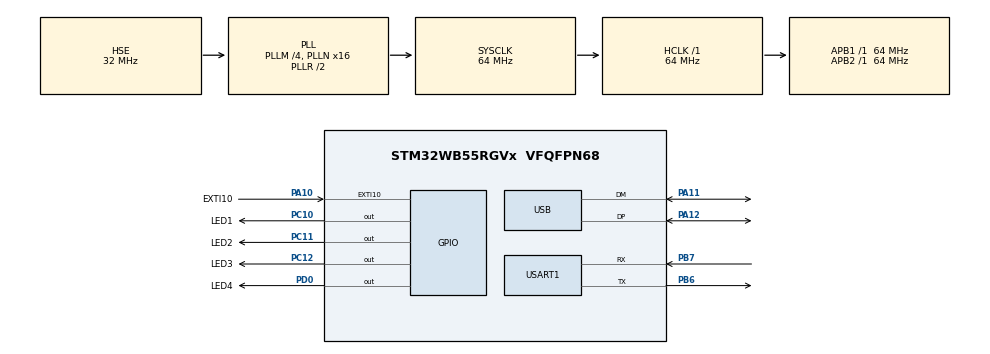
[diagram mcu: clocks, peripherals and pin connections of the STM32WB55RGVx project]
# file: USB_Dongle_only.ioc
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Dma.Request0=USART1_TX
Dma.USART1_TX.0.Direction=DMA_MEMORY_TO_PERIPH
Dma.USART1_TX.0.EventEnable=DISABLE
Dma.USART1_TX.0.Instance=DMA1_Channel1
Dma.USART1_TX.0.MemDataAlignment=DMA_MDATAALIGN_BYTE
Dma.USART1_TX.0.MemInc=DMA_MINC_ENABLE
Dma.USART1_TX.0.Mode=DMA_NORMAL
Dma.USART1_TX.0.PeriphDataAlignment=DMA_PDATAALIGN_BYTE
Dma.USART1_TX.0.PeriphInc=DMA_PINC_DISABLE
Dma.USART1_TX.0.Polarity=HAL_DMAMUX_REQ_GEN_RISING
Dma.USART1_TX.0.Priority=DMA_PRIORITY_LOW
Dma.USART1_TX.0.RequestNumber=1
Dma.USART1_TX.0.SignalID=NONE
Dma.USART1_TX.0.SyncEnable=DISABLE
Dma.USART1_TX.0.SyncPolarity=HAL_DMAMUX_SYNC_NO_EVENT
Dma.USART1_TX.0.SyncRequestNumber=1
Dma.USART1_TX.0.SyncSignalID=NONE
Mcu.Family=STM32WB
Mcu.Name=STM32WB55RGVx
Mcu.Package=VFQFPN68
NVIC.DMA1_Channel1_IRQn=true\:0\:0\:false\:false\:true\:false\:true\:true
NVIC.HSEM_IRQn=true\:0\:0\:false\:false\:true\:false\:true\:true
NVIC.IPCC_C1_RX_IRQn=true\:0\:0\:false\:false\:true\:true\:true\:true
NVIC.IPCC_C1_TX_IRQn=true\:0\:0\:false\:false\:true\:true\:true\:true
NVIC.PriorityGroup=NVIC_PRIORITYGROUP_4
NVIC.USB_LP_IRQn=true\:0\:0\:false\:false\:true\:false\:true\:true
OSC_IN.Mode=HSE-External-Oscillator
OSC_IN.Signal=RCC_OSC_IN
OSC_OUT.Mode=HSE-External-Oscillator
OSC_OUT.Signal=RCC_OSC_OUT
PA10.GPIO_Label=EXTI10
PA10.Signal=GPXTI10
PA11.Mode=Device
PA11.Signal=USB_DM
PA12.Mode=Device
PA12.Signal=USB_DP
PB6.Mode=Asynchronous
PB6.Signal=USART1_TX
PB7.Mode=Asynchronous
PB7.Signal=USART1_RX
PC10.GPIO_Label=LED1
PC10.Signal=GPIO_Output
PC11.GPIO_Label=LED2
PC11.Signal=GPIO_Output
PC12.GPIO_Label=LED3
PC12.Signal=GPIO_Output
PC14-OSC32_IN.Mode=LSE-External-Oscillator
PC14-OSC32_IN.Signal=RCC_OSC32_IN
PC15-OSC32_OUT.Mode=LSE-External-Oscillator
PC15-OSC32_OUT.Signal=RCC_OSC32_OUT
PD0.GPIO_Label=LED4
PD0.Signal=GPIO_Output
ProjectManager.HeapSize=0x200
ProjectManager.StackSize=0x400
ProjectManager.TargetToolchain=STM32CubeIDE
RCC.ADCFreq_Value=32000000
RCC.AHB2CLKDivider=RCC_SYSCLK_DIV2
RCC.AHBFreq_Value=64000000
RCC.APB1Freq_Value=64000000
RCC.APB1TimFreq_Value=64000000
RCC.APB2Freq_Value=64000000
RCC.APB2TimFreq_Value=64000000
RCC.APB3Freq_Value=16000000
RCC.CK48CLockSelection=RCC_USBCLKSOURCE_HSI48
RCC.CortexFreq_Value=64000000
RCC.HCLKFreq_Value=64000000
RCC.HSE_VALUE=32000000
RCC.HSI48_VALUE=48000000
RCC.HSI_VALUE=16000000
RCC.PLLM=RCC_PLLM_DIV4
RCC.PLLN=16
RCC.PLLSourceVirtual=RCC_PLLSOURCE_HSE
RCC.RCC_MCO1Source=RCC_MCO1SOURCE_HSE
RCC.RCC_MCODiv=RCC_MCODIV_2
RCC.SYSCLKFreq_VALUE=64000000
RCC.SYSCLKSource=RCC_SYSCLKSOURCE_PLLCLK
RCC.USBFreq_Value=48000000
RCC.VCOOutputFreq_Value=128000000
RF1.Mode=RF1_Activate
RF1.Signal=RF_RF1
USART1.VirtualMode-Asynchronous=VM_ASYNC
USB_DEVICE.CLASS_NAME_FS=CDC
USB_DEVICE.VirtualMode=Cdc
USB_DEVICE.VirtualModeFS=Cdc_FS
VP_HSEM_VS_HSEM.Mode=HSEM_Activate
VP_IPCC_VS_IPCC.Mode=IPCC_Activate
VP_RNG_VS_RNG.Mode=RNG_Activate
VP_RTC_VS_RTC_Activate.Mode=RTC_Enabled
VP_RTC_VS_RTC_WakeUp_intern.Mode=WakeUp
VP_USB_DEVICE_VS_USB_DEVICE_CDC_FS.Mode=CDC_FS
board=custom

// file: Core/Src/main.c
/* USER CODE BEGIN Header */
/**
  ******************************************************************************
  * @file           : main.c
  * @brief          : Main program body
  ******************************************************************************
  * @attention
  *
  * Copyright (c) 2023 STMicroelectronics.
  * All rights reserved.
  *
  * This software is licensed under terms that can be found in the LICENSE file
  * in the root directory of this software component.
  * If no LICENSE file comes with this software, it is provided AS-IS.
  *
  ******************************************************************************
  */
/* USER CODE END Header */
#include "main.h"
#include "usb_device.h"

/* USER CODE BEGIN Includes */
#include "usbd_cdc_if.h"

#include <stdlib.h>
#include <stdio.h>
#include <inttypes.h>
//#include <stdint.h>
//#include <string.h>
#include "fips202.h"
#include "params.h"
#include "sign.h"
#include "poly.h"
#include "polyvec.h"
#include "packing.h"

#include "usb_debug.h"

#include "elapsed_time.h"

#include "symmetric.h"

/* USER CODE END Includes */

/* USER CODE BEGIN PD */
#define MLEN 59
#define NTESTS 5
//#define KEYGEN_TEST
//#define SIGN_VERIFY_TEST
#define FULL_TEST
//#define AES_TEST
//#define STATIC_KEYS
//#define KEYGEN
#if defined(STATIC_KEYS) || defined(SIGN_VERIFY_TEST)
#include "dilithium_keys.h"
#endif
/* USER CODE END PD */

//CRYP_HandleTypeDef hcryp1;
#ifdef HARDWARE_AES
__ALIGN_BEGIN static const uint32_t pKeyAES1[4] __ALIGN_END = {
                            0x00000000,0x00000000,0x00000000,0x00000000};
#endif

IPCC_HandleTypeDef hipcc;

RNG_HandleTypeDef hrng;

RTC_HandleTypeDef hrtc;

UART_HandleTypeDef huart1;
DMA_HandleTypeDef hdma_usart1_tx;

void SystemClock_Config(void);
void PeriphCommonClock_Config(void);
static void MX_GPIO_Init(void);
static void MX_DMA_Init(void);
static void MX_IPCC_Init(void);
static void MX_RF_Init(void);
static void MX_USART1_UART_Init(void);
static void MX_RTC_Init(void);
static void MX_RNG_Init(void);
#ifdef HARDWARE_AES
static void MX_AES1_Init(void);
#endif
/* USER CODE BEGIN PFP */
static int sign_verify_test_assert(int ret, int mlen, uint8_t ref_m[MLEN], uint8_t new_m[MLEN]);
/* USER CODE END PFP */

int main(void)
{

  /* MCU Configuration--------------------------------------------------------*/

  /* Reset of all peripherals, Initializes the Flash interface and the Systick. */
  HAL_Init();

  /* Configure the system clock */
  SystemClock_Config();

/* Configure the peripherals common clocks */
  PeriphCommonClock_Config();

  /* IPCC initialisation */
  MX_IPCC_Init();

  /* Initialize all configured peripherals */
  MX_GPIO_Init();
  MX_DMA_Init();
  MX_RF_Init();
  MX_USART1_UART_Init();
  MX_RTC_Init();
  MX_USB_Device_Init();
  MX_RNG_Init();
#ifdef HARDWARE_AES
  MX_AES1_Init();
#endif
  /* USER CODE BEGIN 2 */
  HAL_GPIO_TogglePin(LED4_GPIO_Port, LED4_Pin); // BLUE LED
  HAL_Delay(3000);
  USB_DEBUG_MSG("Program Compilation Date: %s %s\n", __DATE__, __TIME__);
  USB_DEBUG_MSG("Dilithium Signature Test Start\n");
  HAL_GPIO_TogglePin(LED4_GPIO_Port, LED4_Pin);
  HAL_GPIO_TogglePin(LED2_GPIO_Port, LED2_Pin);

#ifdef KEYGEN_TEST

  uint8_t pk[CRYPTO_PUBLICKEYBYTES];
  uint8_t sk[CRYPTO_SECRETKEYBYTES];

  elapsed_time_init();

#define TIME_STAMP_INDEX 0

  for (int i = 0; i < NTESTS; ++i) {
	  //
	  USB_DEBUG_MSG("Test %d\r\n", i);

	  elapsed_time_start(TIME_STAMP_INDEX);

	  crypto_sign_keypair(&hrng, pk, sk);

	  elapsed_time_stop(TIME_STAMP_INDEX);

	  USB_DEBUG_MSG("Cycles for keys generation max = %ld\r\n", elapsed_time_max(TIME_STAMP_INDEX));
	  USB_DEBUG_MSG("Cycles for keys generation min = %ld\r\n", elapsed_time_min(TIME_STAMP_INDEX));

	  elapsed_time_clr(TIME_STAMP_INDEX);
  }
  USB_DEBUG_MSG("CRYPTO_PUBLICKEYBYTES = %d\r\n", CRYPTO_PUBLICKEYBYTES);
  USB_DEBUG_MSG("CRYPTO_SECRETKEYBYTES = %d\r\n", CRYPTO_SECRETKEYBYTES);
  USB_DEBUG_MSG("CRYPTO_BYTES = %d\r\n", CRYPTO_BYTES);

#elif defined SIGN_VERIFY_TEST

  unsigned int i;
  int ret;
  size_t mlen, smlen;
  uint8_t m[MLEN] = { 0x55 };
  uint8_t sm[MLEN + CRYPTO_BYTES];
  uint8_t m2[MLEN + CRYPTO_BYTES];
  uint8_t test_ok = 1;

#define TIME_STAMP_SIGN 0
#define TIME_STAMP_VERF 1

  elapsed_time_init();

  for (i = 0; i < NTESTS; ++i) {
	  //
	  USB_DEBUG_MSG("Test %d\r\n", i);

	  elapsed_time_start(TIME_STAMP_SIGN );

	  crypto_sign(&hrng, sm, &smlen, m, MLEN, sk);

	  elapsed_time_stop(TIME_STAMP_SIGN );

	  elapsed_time_start(TIME_STAMP_VERF);

	  ret = crypto_sign_open(m2, &mlen, sm, smlen, pk);

	  elapsed_time_stop(TIME_STAMP_VERF);

	  if(sign_verify_test_assert(ret, mlen, m, m2)){
		  test_ok = 0;
		  break;
	  }

  }

  if (test_ok){
	  HAL_GPIO_TogglePin(LED3_GPIO_Port, LED3_Pin); // GREEN LED
	  USB_DEBUG_MSG("New Dilithium - OK\r\n");
  }
  else {
	  USB_DEBUG_MSG("New Dilithium - err_code = %d\r\n", ret);
  }

  USB_DEBUG_MSG("Cycles for full signature generation max = %ld\r\n", elapsed_time_max(TIME_STAMP_SIGN));
  USB_DEBUG_MSG("Cycles for full signature generation min = %ld\r\n", elapsed_time_min(TIME_STAMP_SIGN));
  USB_DEBUG_MSG("Cycles for full signature verification max = %ld\r\n", elapsed_time_max(TIME_STAMP_VERF));
  USB_DEBUG_MSG("Cycles for full signature verification min = %ld\r\n", elapsed_time_min(TIME_STAMP_VERF));
  USB_DEBUG_MSG("CRYPTO_PUBLICKEYBYTES = %d\r\n", CRYPTO_PUBLICKEYBYTES);
  USB_DEBUG_MSG("CRYPTO_SECRETKEYBYTES = %d\r\n", CRYPTO_SECRETKEYBYTES);
  USB_DEBUG_MSG("CRYPTO_BYTES = %d\r\n", CRYPTO_BYTES);

#elif defined FULL_TEST
  unsigned int i, j;
  int ret;
  size_t mlen, smlen;
  uint8_t m[MLEN] = { 0x55 };
  uint8_t sm[MLEN + CRYPTO_BYTES];
  uint8_t m2[MLEN + CRYPTO_BYTES];
  uint8_t test_ok = 1;
  uint8_t pk[CRYPTO_PUBLICKEYBYTES];
  uint8_t sk[CRYPTO_SECRETKEYBYTES];

  for (i = 0; i < NTESTS; ++i) {
	  //
	  USB_DEBUG_MSG("Test %d\r\n", i);

	  crypto_sign_keypair(&hrng, pk, sk);
	  crypto_sign(&hrng, sm, &smlen, m, MLEN, sk);
	  ret = crypto_sign_open(m2, &mlen, sm, smlen, pk);

	  if(sign_verify_test_assert(ret, mlen, m, m2)){
		  test_ok = 0;
		  break;
	  }

  }

  if (test_ok){
	  HAL_GPIO_TogglePin(LED3_GPIO_Port, LED3_Pin); // GREEN LED
	  USB_DEBUG_MSG("New Dilithium - OK\r\n");
  }
  else {
	  USB_DEBUG_MSG("New Dilithium - err_code = %d\r\n", ret);
  }

#endif

#ifdef TIME_BENCHMARK
  USB_DEBUG_MSG("TIME BENCHMARK FOR %d TESTS\r\n",NTESTS);
#if defined(STATIC_KEYS) || defined(SIGN_VERIFY_TEST)
  USB_DEBUG_MSG("Cycles for keygen t = A*s1+s2 max = %ld\r\n", elapsed_time_max(KEYS_SMUL_TIMESTAMP));
  USB_DEBUG_MSG("Cycles for keygen t = A*s1+s2 min = %ld\r\n", elapsed_time_min(KEYS_SMUL_TIMESTAMP));
#else
  USB_DEBUG_MSG("PREINSTALLED KEYS USED\r\n");
#endif
  USB_DEBUG_MSG("Cycles for sign   w = Ay      max = %ld\r\n", elapsed_time_max(SIGN_YMUL_TIMESTAMP));
  USB_DEBUG_MSG("Cycles for sign   w = Ay      min = %ld\r\n", elapsed_time_min(SIGN_YMUL_TIMESTAMP));
  USB_DEBUG_MSG("Cycles for sign   z = y+c*s1  max = %ld\r\n", elapsed_time_max(SIGN_Z_COMPUTE_TIMESTAMP));
  USB_DEBUG_MSG("Cycles for sign   z = y+c*s1  min = %ld\r\n", elapsed_time_min(SIGN_Z_COMPUTE_TIMESTAMP));
  USB_DEBUG_MSG("Cycles for sign   h0 = c*s2   max = %ld\r\n", elapsed_time_max(SIGN_H_COMPUTE_TIMESTAMP));
  USB_DEBUG_MSG("Cycles for sign   h0 = c*s2   min = %ld\r\n", elapsed_time_min(SIGN_H_COMPUTE_TIMESTAMP));
  USB_DEBUG_MSG("Cycles for verify w1 = Usehint(Az-c*t1*2^d) max = %ld\r\n", elapsed_time_max(VERIFY_RECONSTRUC_W1_TIMESTAMP));
  USB_DEBUG_MSG("Cycles for verify w1 = Usehint(Az-c*t1*2^d) min = %ld\r\n", elapsed_time_min(VERIFY_RECONSTRUC_W1_TIMESTAMP));
#endif

#ifdef AES_TEST
#define POLY_UNIFORM_NBLOCKS ((768 + STREAM128_BLOCKBYTES - 1)/STREAM128_BLOCKBYTES)
  uint8_t buf[POLY_UNIFORM_NBLOCKS*STREAM128_BLOCKBYTES + 2] = {0};
  stream128_state state;
  uint8_t seed[32] = {0x55};
  int nonce = 0;

  poly a;

  for(int i = 0; i < NTESTS; i++, nonce++){
	  //randombytes(&hrng, seed, 32);
	  USB_DEBUG_MSG("\r\nTETS %d\r\n", i);

	  USB_DEBUG_MSG(" first\r\n");
	  USB_DEBUG_MSG(" seed =");
	  for(int j = 0; j < 32; j++){
		  USB_DEBUG_MSG("%d ", seed[j]);
	  }
	  USB_DEBUG_MSG("\r\n");

	  poly_uniform(&a, seed, 1);

	  //for(int k = 0; k < K; k++){
		  //for(int l = 0; l < L; l++){
			  USB_DEBUG_MSG("a = ");
			  for(int j = 0; j < N_; j++){
				  USB_DEBUG_MSG("%ld", a.coeffs[j]);
			  }
			  USB_DEBUG_MSG("\r\n");
		  //}
		  //USB_DEBUG_MSG("\r\n");
	  //}

	  USB_DEBUG_MSG("\r\n second\r\n");
	  USB_DEBUG_MSG(" seed =");
	  for(int j = 0; j < 32; j++){
		  USB_DEBUG_MSG("%d ", seed[j]);
	  }
	  USB_DEBUG_MSG("\r\n");

	  poly_uniform(&a, seed, 1);

	  //for(int k = 0; k < K; k++){
		  //for(int l = 0; l < L; l++){
			  USB_DEBUG_MSG("a = ");
			  for(int j = 0; j < N_; j++){
				  USB_DEBUG_MSG("%ld", a.coeffs[j]);
			  }
			  USB_DEBUG_MSG("\r\n");
		  //}
		  //USB_DEBUG_MSG("\r\n");
	  //}
  }

#endif

#ifdef KEYGEN
  uint8_t pk[CRYPTO_PUBLICKEYBYTES];
  uint8_t sk[CRYPTO_SECRETKEYBYTES];

  crypto_sign_keypair(&hrng, pk, sk);

  USB_DEBUG_MSG("Public key:\r\n");
  for (int i = 0; i < sizeof(pk); i++) {
      if (i % 8 == 0)
    	  USB_DEBUG_MSG("\n\t");
      USB_DEBUG_MSG("0x%02x, ", pk[i]);
  }

  USB_DEBUG_MSG("Secret key:\r\n");
  for (int i = 0; i < sizeof(sk); i++) {
      if (i % 8 == 0)
    	  USB_DEBUG_MSG("\n\t");
      USB_DEBUG_MSG("0x%02x, ", sk[i]);
  }
#endif

  /* USER CODE END 2 */

  /* Infinite loop */
  /* USER CODE BEGIN WHILE */

  while (1)
  {
	  HAL_Delay(1000);
	  HAL_GPIO_TogglePin(LED2_GPIO_Port, LED2_Pin); // YELLOW LED
    /* USER CODE END WHILE */

  }
}

void SystemClock_Config(void)
{
  RCC_OscInitTypeDef RCC_OscInitStruct = {0};
  RCC_ClkInitTypeDef RCC_ClkInitStruct = {0};

  /** Configure the main internal regulator output voltage
  */
  __HAL_PWR_VOLTAGESCALING_CONFIG(PWR_REGULATOR_VOLTAGE_SCALE1);

  /** Initializes the RCC Oscillators according to the specified parameters
  * in the RCC_OscInitTypeDef structure.
  */
  RCC_OscInitStruct.OscillatorType = RCC_OSCILLATORTYPE_HSI48|RCC_OSCILLATORTYPE_HSI
                              |RCC_OSCILLATORTYPE_LSI1|RCC_OSCILLATORTYPE_HSE;
  RCC_OscInitStruct.HSEState = RCC_HSE_ON;
  RCC_OscInitStruct.HSIState = RCC_HSI_ON;
  RCC_OscInitStruct.HSI48State = RCC_HSI48_ON;
  RCC_OscInitStruct.HSICalibrationValue = RCC_HSICALIBRATION_DEFAULT;
  RCC_OscInitStruct.LSIState = RCC_LSI_ON;
  RCC_OscInitStruct.PLL.PLLState = RCC_PLL_ON;
  RCC_OscInitStruct.PLL.PLLSource = RCC_PLLSOURCE_HSE;
  RCC_OscInitStruct.PLL.PLLM = RCC_PLLM_DIV4;
  RCC_OscInitStruct.PLL.PLLN = 16;
  RCC_OscInitStruct.PLL.PLLP = RCC_PLLP_DIV2;
  RCC_OscInitStruct.PLL.PLLR = RCC_PLLR_DIV2;
  RCC_OscInitStruct.PLL.PLLQ = RCC_PLLQ_DIV2;
  if (HAL_RCC_OscConfig(&RCC_OscInitStruct) != HAL_OK)
  {
    Error_Handler();
  }

  /** Configure the SYSCLKSource, HCLK, PCLK1 and PCLK2 clocks dividers
  */
  RCC_ClkInitStruct.ClockType = RCC_CLOCKTYPE_HCLK4|RCC_CLOCKTYPE_HCLK2
                              |RCC_CLOCKTYPE_HCLK|RCC_CLOCKTYPE_SYSCLK
                              |RCC_CLOCKTYPE_PCLK1|RCC_CLOCKTYPE_PCLK2;
  RCC_ClkInitStruct.SYSCLKSource = RCC_SYSCLKSOURCE_PLLCLK;
  RCC_ClkInitStruct.AHBCLKDivider = RCC_SYSCLK_DIV1;
  RCC_ClkInitStruct.APB1CLKDivider = RCC_HCLK_DIV1;
  RCC_ClkInitStruct.APB2CLKDivider = RCC_HCLK_DIV1;
  RCC_ClkInitStruct.AHBCLK2Divider = RCC_SYSCLK_DIV2;
  RCC_ClkInitStruct.AHBCLK4Divider = RCC_SYSCLK_DIV1;

  if (HAL_RCC_ClockConfig(&RCC_ClkInitStruct, FLASH_LATENCY_3) != HAL_OK)
  {
    Error_Handler();
  }
}

void PeriphCommonClock_Config(void)
{
  RCC_PeriphCLKInitTypeDef PeriphClkInitStruct = {0};

  /** Initializes the peripherals clock
  */
  PeriphClkInitStruct.PeriphClockSelection = RCC_PERIPHCLK_SMPS|RCC_PERIPHCLK_RFWAKEUP;
  PeriphClkInitStruct.RFWakeUpClockSelection = RCC_RFWKPCLKSOURCE_HSE_DIV1024;
  PeriphClkInitStruct.SmpsClockSelection = RCC_SMPSCLKSOURCE_HSI;
  PeriphClkInitStruct.SmpsDivSelection = RCC_SMPSCLKDIV_RANGE1;

  if (HAL_RCCEx_PeriphCLKConfig(&PeriphClkInitStruct) != HAL_OK)
  {
    Error_Handler();
  }
}

#ifdef HARDWARE_AES
static void MX_AES1_Init(void)
{

	hcryp_state.Instance = AES1;
	hcryp_state.Init.DataType = CRYP_DATATYPE_32B;
	hcryp_state.Init.KeySize = CRYP_KEYSIZE_128B;
	hcryp_state.Init.pKey = (uint32_t *)pKeyAES1;
	hcryp_state.Init.Algorithm = CRYP_AES_ECB;
	hcryp_state.Init.DataWidthUnit = CRYP_DATAWIDTHUNIT_WORD;
	hcryp_state.Init.KeyIVConfigSkip = CRYP_KEYIVCONFIG_ALWAYS;
  if (HAL_CRYP_Init(&hcryp_state) != HAL_OK)
  {
    Error_Handler();
  }

}
#endif

static void MX_IPCC_Init(void)
{

  hipcc.Instance = IPCC;
  if (HAL_IPCC_Init(&hipcc) != HAL_OK)
  {
    Error_Handler();
  }

}

static void MX_RF_Init(void)
{

}

static void MX_RNG_Init(void)
{

  hrng.Instance = RNG;
  hrng.Init.ClockErrorDetection = RNG_CED_ENABLE;
  if (HAL_RNG_Init(&hrng) != HAL_OK)
  {
    Error_Handler();
  }

}

static void MX_RTC_Init(void)
{

  /** Initialize RTC Only
  */
  hrtc.Instance = RTC;
  hrtc.Init.HourFormat = RTC_HOURFORMAT_24;
  hrtc.Init.AsynchPrediv = 127;
  hrtc.Init.SynchPrediv = 255;
  hrtc.Init.OutPut = RTC_OUTPUT_DISABLE;
  hrtc.Init.OutPutPolarity = RTC_OUTPUT_POLARITY_HIGH;
  hrtc.Init.OutPutType = RTC_OUTPUT_TYPE_OPENDRAIN;
  hrtc.Init.OutPutRemap = RTC_OUTPUT_REMAP_NONE;
  if (HAL_RTC_Init(&hrtc) != HAL_OK)
  {
    Error_Handler();
  }

  /** Enable the WakeUp
  */
  if (HAL_RTCEx_SetWakeUpTimer(&hrtc, 0, RTC_WAKEUPCLOCK_RTCCLK_DIV16) != HAL_OK)
  {
    Error_Handler();
  }

}

static void MX_USART1_UART_Init(void)
{

  huart1.Instance = USART1;
  huart1.Init.BaudRate = 115200;
  huart1.Init.WordLength = UART_WORDLENGTH_8B;
  huart1.Init.StopBits = UART_STOPBITS_1;
  huart1.Init.Parity = UART_PARITY_NONE;
  huart1.Init.Mode = UART_MODE_TX_RX;
  huart1.Init.HwFlowCtl = UART_HWCONTROL_NONE;
  huart1.Init.OverSampling = UART_OVERSAMPLING_16;
  huart1.Init.OneBitSampling = UART_ONE_BIT_SAMPLE_DISABLE;
  huart1.Init.ClockPrescaler = UART_PRESCALER_DIV1;
  huart1.AdvancedInit.AdvFeatureInit = UART_ADVFEATURE_NO_INIT;
  if (HAL_UART_Init(&huart1) != HAL_OK)
  {
    Error_Handler();
  }
  if (HAL_UARTEx_SetTxFifoThreshold(&huart1, UART_TXFIFO_THRESHOLD_1_8) != HAL_OK)
  {
    Error_Handler();
  }
  if (HAL_UARTEx_SetRxFifoThreshold(&huart1, UART_RXFIFO_THRESHOLD_1_8) != HAL_OK)
  {
    Error_Handler();
  }
  if (HAL_UARTEx_DisableFifoMode(&huart1) != HAL_OK)
  {
    Error_Handler();
  }

}

static void MX_DMA_Init(void)
{

  /* DMA controller clock enable */
  __HAL_RCC_DMAMUX1_CLK_ENABLE();
  __HAL_RCC_DMA1_CLK_ENABLE();

  /* DMA interrupt init */
  /* DMA1_Channel1_IRQn interrupt configuration */
  HAL_NVIC_SetPriority(DMA1_Channel1_IRQn, 0, 0);
  HAL_NVIC_EnableIRQ(DMA1_Channel1_IRQn);

}

static void MX_GPIO_Init(void)
{
  GPIO_InitTypeDef GPIO_InitStruct = {0};

  /* GPIO Ports Clock Enable */
  __HAL_RCC_GPIOC_CLK_ENABLE();
  __HAL_RCC_GPIOA_CLK_ENABLE();
  __HAL_RCC_GPIOD_CLK_ENABLE();
  __HAL_RCC_GPIOB_CLK_ENABLE();

  /*Configure GPIO pin Output Level */
  HAL_GPIO_WritePin(GPIOC, LED1_Pin|LED2_Pin|LED3_Pin, GPIO_PIN_RESET);

  /*Configure GPIO pin Output Level */
  HAL_GPIO_WritePin(LED4_GPIO_Port, LED4_Pin, GPIO_PIN_RESET);

  /*Configure GPIO pin : EXTI10_Pin */
  GPIO_InitStruct.Pin = EXTI10_Pin;
  GPIO_InitStruct.Mode = GPIO_MODE_IT_RISING;
  GPIO_InitStruct.Pull = GPIO_NOPULL;
  HAL_GPIO_Init(EXTI10_GPIO_Port, &GPIO_InitStruct);

  /*Configure GPIO pins : LED1_Pin LED2_Pin LED3_Pin */
  GPIO_InitStruct.Pin = LED1_Pin|LED2_Pin|LED3_Pin;
  GPIO_InitStruct.Mode = GPIO_MODE_OUTPUT_PP;
  GPIO_InitStruct.Pull = GPIO_NOPULL;
  GPIO_InitStruct.Speed = GPIO_SPEED_FREQ_LOW;
  HAL_GPIO_Init(GPIOC, &GPIO_InitStruct);

  /*Configure GPIO pin : LED4_Pin */
  GPIO_InitStruct.Pin = LED4_Pin;
  GPIO_InitStruct.Mode = GPIO_MODE_OUTPUT_PP;
  GPIO_InitStruct.Pull = GPIO_NOPULL;
  GPIO_InitStruct.Speed = GPIO_SPEED_FREQ_LOW;
  HAL_GPIO_Init(LED4_GPIO_Port, &GPIO_InitStruct);

}

/* USER CODE BEGIN 4 */
static int sign_verify_test_assert(int ret, int mlen, uint8_t ref_m[MLEN], uint8_t new_m[MLEN]){
	  if (ret) {
	 		  USB_DEBUG_MSG("Verification failed - err_code = %d\r\n", ret);
	 		  HAL_GPIO_WritePin(LED1_GPIO_Port, LED1_Pin, GPIO_PIN_SET); // RED LED
	 		 return 1;
	 }

	  if (mlen != MLEN) {
		  USB_DEBUG_MSG("Message lengths don't match\r\n");
		  HAL_GPIO_WritePin(LED1_GPIO_Port, LED1_Pin, GPIO_PIN_SET); // RED LED
		  return 1;
	  }

	  for (int j = 0; j < mlen; ++j) {
		  if (ref_m[j] != new_m[j]) {
			  USB_DEBUG_MSG("Messages don't match\r\n");
			  HAL_GPIO_WritePin(LED1_GPIO_Port, LED1_Pin, GPIO_PIN_SET); // RED LED
			  return 1;
		  }
	  }
	  return 0;
}
/* USER CODE END 4 */

void Error_Handler(void)
{
  /* USER CODE BEGIN Error_Handler_Debug */
  /* User can add his own implementation to report the HAL error return state */
  __disable_irq();
  while (1)
  {
	  HAL_GPIO_TogglePin(LED1_GPIO_Port, LED1_Pin);
	  HAL_GPIO_TogglePin(LED2_GPIO_Port, LED2_Pin);
	  HAL_GPIO_TogglePin(LED3_GPIO_Port, LED3_Pin);
	  HAL_GPIO_TogglePin(LED4_GPIO_Port, LED4_Pin);
	  HAL_Delay(500);
  }
  /* USER CODE END Error_Handler_Debug */
}
